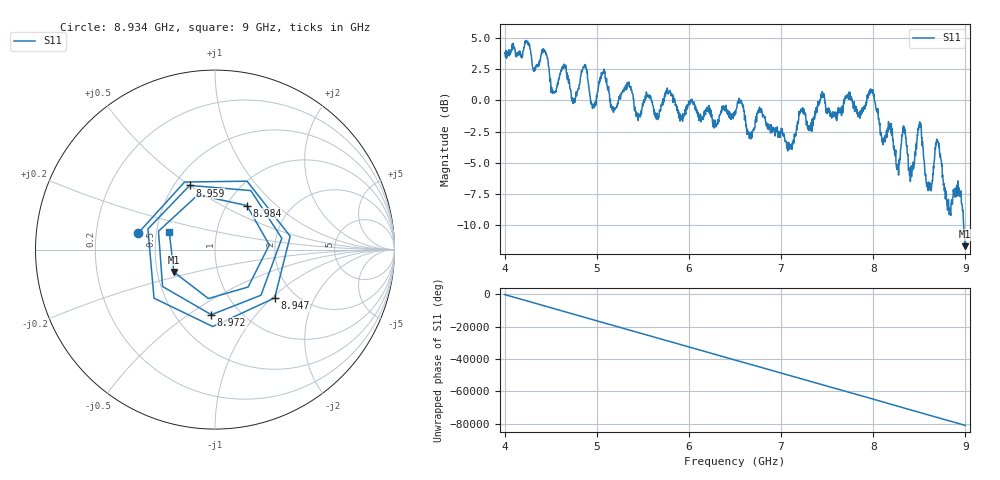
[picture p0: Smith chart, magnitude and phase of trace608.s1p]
! Created with skrf 1.8.0 (http://scikit-rf.org).
# Hz S RI R 50.0
!freq ReS11 ImS11
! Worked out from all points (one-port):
!   1601 points, 4 GHz to 9 GHz, reference 50 ohm
!   lowest |S11| = -11.7 dB at 8.997 GHz (marker M1), VSWR 1.71, Z = 30.5 - j8.17 ohm
!   |S11| at or under -10 dB: 8.981549 GHz to end of sweep
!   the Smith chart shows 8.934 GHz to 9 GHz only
!   S11 on the Smith chart (normalised r, x): 8.934 GHz: 0.40, +0.09; 8.947 GHz: 1.58, -1.04; 8.959 GHz: 0.60, +0.50; 8.972 GHz: 0.74, -0.62; 8.984 GHz: 1.23, +0.67; 9 GHz: 0.58, +0.12
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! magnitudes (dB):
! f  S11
! 4 GHz  3.8
! 4.431 GHz  4.0
! 4.531 GHz  0.7
! 4.625 GHz  2.5
! 4.747 GHz  0.1
! 4.866 GHz  2.6
! 4.959 GHz  -0.4
! 5.066 GHz  2.2
! 5.25 GHz  0.4
! 5.875 GHz  -0.8
! 6.5 GHz  -0.9
! 7.125 GHz  -3.3
! 7.219 GHz  -0.9
! 7.75 GHz  0.5
! 7.984 GHz  0.8
! 8.1 GHz  -3.1
! 8.375 GHz  -4.4
! 8.503 GHz  -1.7
! 8.597 GHz  -7.1
! 8.694 GHz  -3.2
! 8.819 GHz  -8.4
! 8.934 GHz  -7.2
! 8.947 GHz  -7.4
! 8.959 GHz  -8.3
! 8.972 GHz  -8.8
! 8.984 GHz  -10.4
! 8.997 GHz  -11.7
! 9 GHz  -11.3
